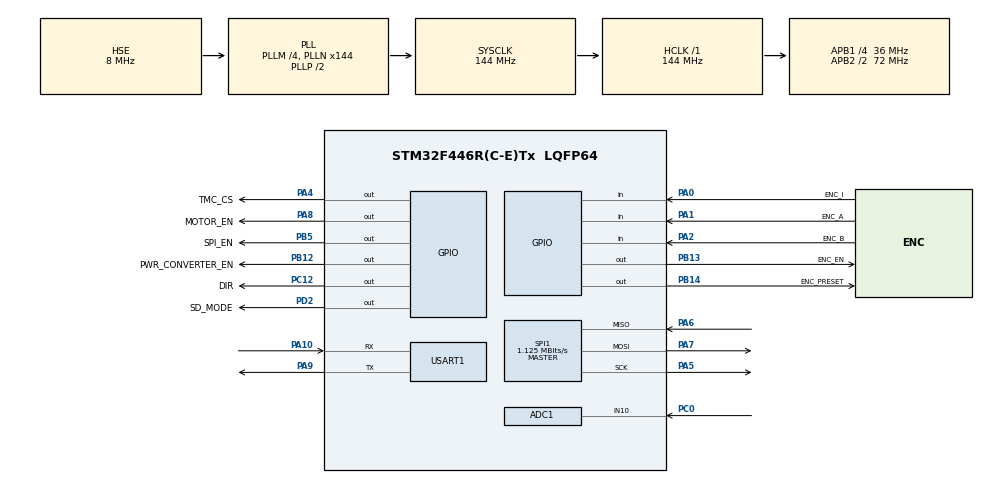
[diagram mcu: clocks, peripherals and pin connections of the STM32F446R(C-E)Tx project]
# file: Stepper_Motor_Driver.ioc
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ADC1.Channel-1\#ChannelRegularConversion=ADC_CHANNEL_10
ADC1.ClockPrescaler=ADC_CLOCK_SYNC_PCLK_DIV4
ADC1.NbrOfConversionFlag=1
ADC1.Rank-1\#ChannelRegularConversion=1
ADC1.SamplingTime-1\#ChannelRegularConversion=ADC_SAMPLETIME_56CYCLES
ADC1.master=1
Dma.Request0=SPI1_RX
Dma.Request1=SPI1_TX
Dma.SPI1_RX.0.Direction=DMA_PERIPH_TO_MEMORY
Dma.SPI1_RX.0.FIFOMode=DMA_FIFOMODE_DISABLE
Dma.SPI1_RX.0.Instance=DMA2_Stream0
Dma.SPI1_RX.0.MemDataAlignment=DMA_MDATAALIGN_BYTE
Dma.SPI1_RX.0.MemInc=DMA_MINC_ENABLE
Dma.SPI1_RX.0.Mode=DMA_NORMAL
Dma.SPI1_RX.0.PeriphDataAlignment=DMA_PDATAALIGN_BYTE
Dma.SPI1_RX.0.PeriphInc=DMA_PINC_DISABLE
Dma.SPI1_RX.0.Priority=DMA_PRIORITY_LOW
Dma.SPI1_TX.1.Direction=DMA_MEMORY_TO_PERIPH
Dma.SPI1_TX.1.FIFOMode=DMA_FIFOMODE_DISABLE
Dma.SPI1_TX.1.Instance=DMA2_Stream3
Dma.SPI1_TX.1.MemDataAlignment=DMA_MDATAALIGN_BYTE
Dma.SPI1_TX.1.MemInc=DMA_MINC_ENABLE
Dma.SPI1_TX.1.Mode=DMA_NORMAL
Dma.SPI1_TX.1.PeriphDataAlignment=DMA_PDATAALIGN_BYTE
Dma.SPI1_TX.1.PeriphInc=DMA_PINC_DISABLE
Dma.SPI1_TX.1.Priority=DMA_PRIORITY_LOW
FREERTOS.Tasks01=defaultTask,24,128,StartDefaultTask,Default,NULL,Dynamic,NULL,NULL
FREERTOS.configTOTAL_HEAP_SIZE=20480
FREERTOS.configUSE_NEWLIB_REENTRANT=1
Mcu.Family=STM32F4
Mcu.Name=STM32F446R(C-E)Tx
Mcu.Package=LQFP64
NVIC.DMA2_Stream0_IRQn=true\:5\:0\:false\:false\:true\:true\:false\:true\:true
NVIC.DMA2_Stream3_IRQn=true\:5\:0\:false\:false\:true\:true\:false\:true\:true
NVIC.PriorityGroup=NVIC_PRIORITYGROUP_4
NVIC.SPI1_IRQn=true\:5\:0\:false\:false\:true\:true\:true\:true\:true
NVIC.TIM6_DAC_IRQn=true\:15\:0\:false\:false\:true\:false\:false\:true\:true
NVIC.TimeBase=TIM6_DAC_IRQn
NVIC.TimeBaseIP=TIM6
PA0-WKUP.GPIO_Label=ENC_I
PA0-WKUP.Signal=GPIO_Input
PA1.GPIO_Label=ENC_A
PA1.Signal=GPIO_Input
PA10.Mode=Asynchronous
PA10.Signal=USART1_RX
PA2.GPIO_Label=ENC_B
PA2.Signal=GPIO_Input
PA4.GPIO_Label=TMC_CS
PA4.PinState=GPIO_PIN_SET
PA4.Signal=GPIO_Output
PA5.Mode=Full_Duplex_Master
PA5.Signal=SPI1_SCK
PA6.Mode=Full_Duplex_Master
PA6.Signal=SPI1_MISO
PA7.Mode=Full_Duplex_Master
PA7.Signal=SPI1_MOSI
PA8.GPIO_Label=MOTOR_EN
PA8.PinState=GPIO_PIN_SET
PA8.Signal=GPIO_Output
PA9.Mode=Asynchronous
PA9.Signal=USART1_TX
PB12.GPIO_Label=PWR_CONVERTER_EN
PB12.Signal=GPIO_Output
PB13.GPIO_Label=ENC_EN
PB13.PinState=GPIO_PIN_SET
PB13.Signal=GPIO_Output
PB14.GPIO_Label=ENC_PRESET
PB14.Signal=GPIO_Output
PB5.GPIO_Label=SPI_EN
PB5.PinState=GPIO_PIN_SET
PB5.Signal=GPIO_Output
PC0.Signal=ADCx_IN10
PC12.GPIO_Label=DIR
PC12.Signal=GPIO_Output
PD2.GPIO_Label=SD_MODE
PD2.Signal=GPIO_Output
PH0-OSC_IN.Mode=HSE-External-Oscillator
PH0-OSC_IN.Signal=RCC_OSC_IN
PH1-OSC_OUT.Mode=HSE-External-Oscillator
PH1-OSC_OUT.Signal=RCC_OSC_OUT
ProjectManager.HeapSize=0x200
ProjectManager.StackSize=0x400
ProjectManager.TargetToolchain=STM32CubeIDE
RCC.AHBFreq_Value=144000000
RCC.APB1CLKDivider=RCC_HCLK_DIV4
RCC.APB1Freq_Value=36000000
RCC.APB1TimFreq_Value=72000000
RCC.APB2CLKDivider=RCC_HCLK_DIV2
RCC.APB2Freq_Value=72000000
RCC.APB2TimFreq_Value=144000000
RCC.CortexFreq_Value=144000000
RCC.HCLKFreq_Value=144000000
RCC.HSE_VALUE=8000000
RCC.PLLM=4
RCC.PLLN=144
RCC.PLLSourceVirtual=RCC_PLLSOURCE_HSE
RCC.SYSCLKFreq_VALUE=144000000
RCC.SYSCLKSource=RCC_SYSCLKSOURCE_PLLCLK
RCC.USBFreq_Value=144000000
RCC.VCOOutputFreq_Value=288000000
SH.ADCx_IN10.0=ADC1_IN10,IN10
SPI1.BaudRatePrescaler=SPI_BAUDRATEPRESCALER_64
SPI1.CLKPhase=SPI_PHASE_2EDGE
SPI1.CLKPolarity=SPI_POLARITY_HIGH
SPI1.CalculateBaudRate=1.125 MBits/s
SPI1.Direction=SPI_DIRECTION_2LINES
SPI1.Mode=SPI_MODE_MASTER
SPI1.VirtualType=VM_MASTER
USART1.VirtualMode=VM_ASYNC
VP_FREERTOS_VS_CMSIS_V2.Mode=CMSIS_V2
VP_SYS_VS_tim6.Mode=TIM6
board=custom

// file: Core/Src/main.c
/* USER CODE BEGIN Header */
/**
  ******************************************************************************
  * @file           : main.c
  * @brief          : Main program body
  ******************************************************************************
  * @attention
  *
  * Copyright (c) 2026 STMicroelectronics.
  * All rights reserved.
  *
  * This software is licensed under terms that can be found in the LICENSE file
  * in the root directory of this software component.
  * If no LICENSE file comes with this software, it is provided AS-IS.
  *
  ******************************************************************************
  */
/* USER CODE END Header */
#include "main.h"
#include "TMC_api.h"
#include "cmsis_os.h"

/* USER CODE BEGIN Includes */
#include "TMC5160.h"
#include <stdio.h>

/* USER CODE END Includes */

ADC_HandleTypeDef hadc1;

SPI_HandleTypeDef hspi1;
DMA_HandleTypeDef hdma_spi1_rx;
DMA_HandleTypeDef hdma_spi1_tx;

UART_HandleTypeDef huart1;

/* Definitions for defaultTask */
osThreadId_t defaultTaskHandle;
const osThreadAttr_t defaultTask_attributes = {
  .name = "defaultTask",
  .stack_size = 524 * 4,
  .priority = (osPriority_t) osPriorityNormal,
};
/* USER CODE BEGIN PV */
osSemaphoreId_t spiDmaSemaphoreHandle;
const osSemaphoreAttr_t spiDmaSemaphore_attributes = { .name = "spiDmaSem" };

/* USER CODE END PV */

void SystemClock_Config(void);
static void MX_GPIO_Init(void);
static void MX_DMA_Init(void);
static void MX_SPI1_Init(void);
static void MX_ADC1_Init(void);
static void MX_USART1_UART_Init(void);
void StartDefaultTask(void *argument);

/* USER CODE BEGIN 0 */
int _write(int file, char *ptr, int len) {
    HAL_UART_Transmit(&huart1, (uint8_t*)ptr, len, HAL_MAX_DELAY);
    return len;
}

/* USER CODE END 0 */

int main(void)
{

  /* MCU Configuration--------------------------------------------------------*/

  /* Reset of all peripherals, Initializes the Flash interface and the Systick. */
  HAL_Init();

  /* Configure the system clock */
  SystemClock_Config();

  /* Initialize all configured peripherals */
  MX_GPIO_Init();
  MX_DMA_Init();
  MX_SPI1_Init();
  MX_ADC1_Init();
  MX_USART1_UART_Init();
  /* USER CODE BEGIN 2 */
  HAL_UART_Transmit(&huart1, (uint8_t*)"\r\n--- TEST SPRZETOWY ---\r\n", 26, 1000);
  /* USER CODE END 2 */

  /* Init scheduler */
  osKernelInitialize();

  /* USER CODE BEGIN RTOS_SEMAPHORES */
  /* add semaphores, ... */

  spiDmaSemaphoreHandle = osSemaphoreNew(1, 0, &spiDmaSemaphore_attributes);

//  static SemaphoreHandle_t dma_semaphore;
  /* USER CODE END RTOS_SEMAPHORES */

  /* Create the thread(s) */
  /* creation of defaultTask */
  defaultTaskHandle = osThreadNew(StartDefaultTask, NULL, &defaultTask_attributes);

  /* Start scheduler */
  osKernelStart();

  /* We should never get here as control is now taken by the scheduler */

  /* Infinite loop */
  while (1)
  {

  }
}

void SystemClock_Config(void)
{
  RCC_OscInitTypeDef RCC_OscInitStruct = {0};
  RCC_ClkInitTypeDef RCC_ClkInitStruct = {0};

  /** Configure the main internal regulator output voltage
  */
  __HAL_RCC_PWR_CLK_ENABLE();
  __HAL_PWR_VOLTAGESCALING_CONFIG(PWR_REGULATOR_VOLTAGE_SCALE1);

  /** Initializes the RCC Oscillators according to the specified parameters
  * in the RCC_OscInitTypeDef structure.
  */
  RCC_OscInitStruct.OscillatorType = RCC_OSCILLATORTYPE_HSE;
  RCC_OscInitStruct.HSEState = RCC_HSE_ON;
  RCC_OscInitStruct.PLL.PLLState = RCC_PLL_ON;
  RCC_OscInitStruct.PLL.PLLSource = RCC_PLLSOURCE_HSE;
  RCC_OscInitStruct.PLL.PLLM = 4;
  RCC_OscInitStruct.PLL.PLLN = 144;
  RCC_OscInitStruct.PLL.PLLP = RCC_PLLP_DIV2;
  RCC_OscInitStruct.PLL.PLLQ = 2;
  RCC_OscInitStruct.PLL.PLLR = 2;
  if (HAL_RCC_OscConfig(&RCC_OscInitStruct) != HAL_OK)
  {
    Error_Handler();
  }

  /** Initializes the CPU, AHB and APB buses clocks
  */
  RCC_ClkInitStruct.ClockType = RCC_CLOCKTYPE_HCLK|RCC_CLOCKTYPE_SYSCLK
                              |RCC_CLOCKTYPE_PCLK1|RCC_CLOCKTYPE_PCLK2;
  RCC_ClkInitStruct.SYSCLKSource = RCC_SYSCLKSOURCE_PLLCLK;
  RCC_ClkInitStruct.AHBCLKDivider = RCC_SYSCLK_DIV1;
  RCC_ClkInitStruct.APB1CLKDivider = RCC_HCLK_DIV4;
  RCC_ClkInitStruct.APB2CLKDivider = RCC_HCLK_DIV2;

  if (HAL_RCC_ClockConfig(&RCC_ClkInitStruct, FLASH_LATENCY_4) != HAL_OK)
  {
    Error_Handler();
  }
}

static void MX_ADC1_Init(void)
{

  ADC_ChannelConfTypeDef sConfig = {0};

  /** Configure the global features of the ADC (Clock, Resolution, Data Alignment and number of conversion)
  */
  hadc1.Instance = ADC1;
  hadc1.Init.ClockPrescaler = ADC_CLOCK_SYNC_PCLK_DIV4;
  hadc1.Init.Resolution = ADC_RESOLUTION_12B;
  hadc1.Init.ScanConvMode = DISABLE;
  hadc1.Init.ContinuousConvMode = DISABLE;
  hadc1.Init.DiscontinuousConvMode = DISABLE;
  hadc1.Init.ExternalTrigConvEdge = ADC_EXTERNALTRIGCONVEDGE_NONE;
  hadc1.Init.ExternalTrigConv = ADC_SOFTWARE_START;
  hadc1.Init.DataAlign = ADC_DATAALIGN_RIGHT;
  hadc1.Init.NbrOfConversion = 1;
  hadc1.Init.DMAContinuousRequests = DISABLE;
  hadc1.Init.EOCSelection = ADC_EOC_SINGLE_CONV;
  if (HAL_ADC_Init(&hadc1) != HAL_OK)
  {
    Error_Handler();
  }

  /** Configure for the selected ADC regular channel its corresponding rank in the sequencer and its sample time.
  */
  sConfig.Channel = ADC_CHANNEL_10;
  sConfig.Rank = 1;
  sConfig.SamplingTime = ADC_SAMPLETIME_56CYCLES;
  if (HAL_ADC_ConfigChannel(&hadc1, &sConfig) != HAL_OK)
  {
    Error_Handler();
  }

}

static void MX_SPI1_Init(void)
{

  /* SPI1 parameter configuration*/
  hspi1.Instance = SPI1;
  hspi1.Init.Mode = SPI_MODE_MASTER;
  hspi1.Init.Direction = SPI_DIRECTION_2LINES;
  hspi1.Init.DataSize = SPI_DATASIZE_8BIT;
  hspi1.Init.CLKPolarity = SPI_POLARITY_HIGH;
  hspi1.Init.CLKPhase = SPI_PHASE_2EDGE;
  hspi1.Init.NSS = SPI_NSS_SOFT;
  hspi1.Init.BaudRatePrescaler = SPI_BAUDRATEPRESCALER_64;
  hspi1.Init.FirstBit = SPI_FIRSTBIT_MSB;
  hspi1.Init.TIMode = SPI_TIMODE_DISABLE;
  hspi1.Init.CRCCalculation = SPI_CRCCALCULATION_DISABLE;
  hspi1.Init.CRCPolynomial = 10;
  if (HAL_SPI_Init(&hspi1) != HAL_OK)
  {
    Error_Handler();
  }

}

static void MX_USART1_UART_Init(void)
{

  huart1.Instance = USART1;
  huart1.Init.BaudRate = 115200;
  huart1.Init.WordLength = UART_WORDLENGTH_8B;
  huart1.Init.StopBits = UART_STOPBITS_1;
  huart1.Init.Parity = UART_PARITY_NONE;
  huart1.Init.Mode = UART_MODE_TX_RX;
  huart1.Init.HwFlowCtl = UART_HWCONTROL_NONE;
  huart1.Init.OverSampling = UART_OVERSAMPLING_16;
  if (HAL_UART_Init(&huart1) != HAL_OK)
  {
    Error_Handler();
  }

}

static void MX_DMA_Init(void)
{

  /* DMA controller clock enable */
  __HAL_RCC_DMA2_CLK_ENABLE();

  /* DMA interrupt init */
  /* DMA2_Stream0_IRQn interrupt configuration */
  HAL_NVIC_SetPriority(DMA2_Stream0_IRQn, 5, 0);
  HAL_NVIC_EnableIRQ(DMA2_Stream0_IRQn);
  /* DMA2_Stream3_IRQn interrupt configuration */
  HAL_NVIC_SetPriority(DMA2_Stream3_IRQn, 5, 0);
  HAL_NVIC_EnableIRQ(DMA2_Stream3_IRQn);

}

static void MX_GPIO_Init(void)
{
  GPIO_InitTypeDef GPIO_InitStruct = {0};

  /* GPIO Ports Clock Enable */
  __HAL_RCC_GPIOH_CLK_ENABLE();
  __HAL_RCC_GPIOC_CLK_ENABLE();
  __HAL_RCC_GPIOA_CLK_ENABLE();
  __HAL_RCC_GPIOB_CLK_ENABLE();
  __HAL_RCC_GPIOD_CLK_ENABLE();

  /*Configure GPIO pin Output Level */
  HAL_GPIO_WritePin(GPIOA, TMC_CS_Pin|MOTOR_EN_Pin, GPIO_PIN_SET);

  /*Configure GPIO pin Output Level */
  HAL_GPIO_WritePin(GPIOB, PWR_CONVERTER_EN_Pin|ENC_PRESET_Pin, GPIO_PIN_RESET);

  /*Configure GPIO pin Output Level */
  HAL_GPIO_WritePin(GPIOB, ENC_EN_Pin|SPI_EN_Pin, GPIO_PIN_SET);

  /*Configure GPIO pin Output Level */
  HAL_GPIO_WritePin(DIR_GPIO_Port, DIR_Pin, GPIO_PIN_RESET);

  /*Configure GPIO pin Output Level */
  HAL_GPIO_WritePin(SD_MODE_GPIO_Port, SD_MODE_Pin, GPIO_PIN_RESET);

  /*Configure GPIO pins : ENC_I_Pin ENC_A_Pin ENC_B_Pin */
  GPIO_InitStruct.Pin = ENC_I_Pin|ENC_A_Pin|ENC_B_Pin;
  GPIO_InitStruct.Mode = GPIO_MODE_INPUT;
  GPIO_InitStruct.Pull = GPIO_NOPULL;
  HAL_GPIO_Init(GPIOA, &GPIO_InitStruct);

  /*Configure GPIO pins : TMC_CS_Pin MOTOR_EN_Pin */
  GPIO_InitStruct.Pin = TMC_CS_Pin|MOTOR_EN_Pin;
  GPIO_InitStruct.Mode = GPIO_MODE_OUTPUT_PP;
  GPIO_InitStruct.Pull = GPIO_NOPULL;
  GPIO_InitStruct.Speed = GPIO_SPEED_FREQ_LOW;
  HAL_GPIO_Init(GPIOA, &GPIO_InitStruct);

  /*Configure GPIO pins : PWR_CONVERTER_EN_Pin ENC_EN_Pin ENC_PRESET_Pin SPI_EN_Pin */
  GPIO_InitStruct.Pin = PWR_CONVERTER_EN_Pin|ENC_EN_Pin|ENC_PRESET_Pin|SPI_EN_Pin;
  GPIO_InitStruct.Mode = GPIO_MODE_OUTPUT_PP;
  GPIO_InitStruct.Pull = GPIO_NOPULL;
  GPIO_InitStruct.Speed = GPIO_SPEED_FREQ_LOW;
  HAL_GPIO_Init(GPIOB, &GPIO_InitStruct);

  /*Configure GPIO pin : DIR_Pin */
  GPIO_InitStruct.Pin = DIR_Pin;
  GPIO_InitStruct.Mode = GPIO_MODE_OUTPUT_PP;
  GPIO_InitStruct.Pull = GPIO_NOPULL;
  GPIO_InitStruct.Speed = GPIO_SPEED_FREQ_LOW;
  HAL_GPIO_Init(DIR_GPIO_Port, &GPIO_InitStruct);

  /*Configure GPIO pin : SD_MODE_Pin */
  GPIO_InitStruct.Pin = SD_MODE_Pin;
  GPIO_InitStruct.Mode = GPIO_MODE_OUTPUT_PP;
  GPIO_InitStruct.Pull = GPIO_NOPULL;
  GPIO_InitStruct.Speed = GPIO_SPEED_FREQ_LOW;
  HAL_GPIO_Init(SD_MODE_GPIO_Port, &GPIO_InitStruct);

}

void StartDefaultTask(void *argument)
{
  /* USER CODE BEGIN 5 */
    uint32_t adc_raw = 0;
    float real_voltage = 12.0f;

    // --- 1. TWARDY RESET SPRZĘTOWY (1:1 z kodem kolegi) ---
    HAL_GPIO_WritePin(GPIOB, PWR_CONVERTER_EN_Pin, GPIO_PIN_RESET); // wylaczenie przetwornicy
    HAL_GPIO_WritePin(SD_MODE_GPIO_Port, SD_MODE_Pin, GPIO_PIN_RESET); // SD_MODE na 0 zeby uklad sluchal SPI
    HAL_GPIO_WritePin(GPIOA, MOTOR_EN_Pin, GPIO_PIN_SET);
    HAL_GPIO_WritePin(GPIOA, TMC_CS_Pin, GPIO_PIN_SET);
    HAL_GPIO_WritePin(GPIOB, SPI_EN_Pin, GPIO_PIN_SET);
    HAL_GPIO_WritePin(GPIOC, DIR_Pin, GPIO_PIN_RESET);

    printf("[LOGIC] oczekiwanie az spadnie ponizej 800mV\r\n");

    while(real_voltage > 0.8f)
    {
        HAL_ADC_Start(&hadc1);
        if(HAL_ADC_PollForConversion(&hadc1, 10) == HAL_OK)
        {
            adc_raw = HAL_ADC_GetValue(&hadc1);
            real_voltage = (((float)adc_raw * 3.3f) / 4095.0f) * 4.03f;
            printf("[LOGIC] V: %.2f\r\n", real_voltage);
        }
        osDelay(10);
    }

    printf("[LOGIC] napiecie zeszlo. Wlaczam zasilanie\r\n");
    HAL_GPIO_WritePin(GPIOB, PWR_CONVERTER_EN_Pin, GPIO_PIN_SET);
    osDelay(2000);
    HAL_GPIO_WritePin(GPIOA, MOTOR_EN_Pin, GPIO_PIN_RESET);
    osDelay(500);

    printf("[DIAG] Checking motor configuration...\r\n");

        // Czytaj XTARGET - sprawdź czy się zapisało
        uint32_t xtarget_readback = tmc5160_readRegister(0, TMC5160_XTARGET);
        printf("[DIAG] XTARGET readback = %ld\r\n", (int32_t)xtarget_readback);

        // Czytaj DRV_STATUS - czy error?
        uint32_t drv_status = tmc5160_readRegister(0, TMC5160_DRV_STATUS);
        printf("[DIAG] DRV_STATUS = 0x%08lX\r\n", drv_status);

        // Sprawdź IHOLD_IRUN
        uint32_t ihold = tmc5160_readRegister(0, TMC5160_IHOLD_IRUN);
        printf("[DIAG] IHOLD_IRUN = 0x%08lX\r\n", ihold);

        // Sprawdź czy MOTOR_EN jest aktywny
        printf("[DIAG] MOTOR_EN pin = %d\r\n",
               HAL_GPIO_ReadPin(GPIOA, MOTOR_EN_Pin));

        osDelay(1000);

    printf("[TEST_SPI] === Koniec testu SPI ===\r\n\r\n");

        // Inicjalizacja API Silnika
        Stepper_ConfigTypeDef hydrofoil1_config;
        hydrofoil1_config.run_current     = 31;
        hydrofoil1_config.hold_current    = 5;
        hydrofoil1_config.max_velocity    = 1000000;
        hydrofoil1_config.acceleration    = 15000;
        hydrofoil1_config.decceleration   = 15000;
        hydrofoil1_config.enable_coolstep = false;
        hydrofoil1_config.microsteps      = 256;

        stepper_init(&hydrofoil1_config);

        printf("[API] Silnik skonfigurowany pomyslnie!\r\n");

    volatile int32_t target_position = 0;

    int step = 0;

    while(1)
    {
        // tu bedzie nadpisywac CAN z joysticka, narazie symulacja ruchow
        step++;
        if(step == 1) target_position = 200000;
        if(step == 2) target_position = -200000;
        if(step > 2) step = 0;

        // blyskawiczna aktualizacja rejestru bez czekania
        if(Stepper_isPositionReached()) {
            printf("[RUNNING] Jazda na: %ld\r\n", target_position);
//            tmc5160_writeRegister(0, TMC5160_XTARGET, target_position);
            stepper_SetTargetPosition(target_position);
//            current_target = target_position;
            int32_t gowno = Stepper_GetActualPosition();
            printf("acutal pos %ld: ",gowno);
        }

        // na testy zeby bylo widac ze jedzie (potem wywalic ten delay)

    }
  /* USER CODE END 5 */
}

void HAL_TIM_PeriodElapsedCallback(TIM_HandleTypeDef *htim)
{
  if (htim->Instance == TIM6)
  {
    HAL_IncTick();
  }
}

void Error_Handler(void)
{
  __disable_irq();
  while (1)
  {
  }
}
